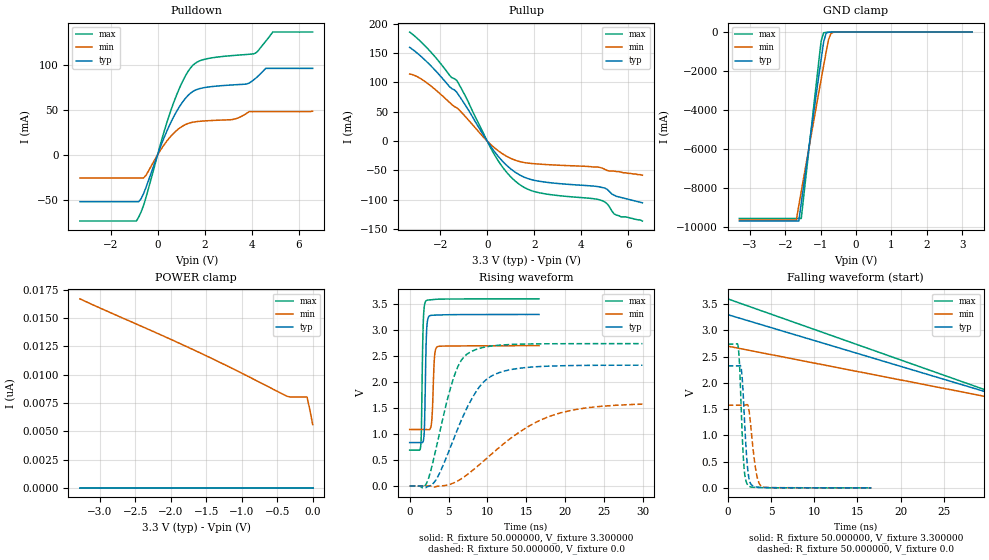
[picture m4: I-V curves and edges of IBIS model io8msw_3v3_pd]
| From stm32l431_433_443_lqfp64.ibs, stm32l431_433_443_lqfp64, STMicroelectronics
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|   Model io8msw_3v3_pd
[Model]  io8msw_3v3_pd
Model_type I/O
Polarity   Non-Inverting
Enable   Active-Low
Vinl =   0.990000V
Vinh =   2.310000V
Vmeas =  1.650000V
Cref =   100.000000nF
Rref =   1.000000k
Vref =   3.300000V
C_comp   2.968600pF   2.938100pF   3.196200pF
[Temperature Range]   25.000000   0.125000k   -40.000000
[Pullup Reference]   3.300000V   2.700000V   3.600000V
[Pulldown Reference]   0.0V   0.0V   0.0V
[POWER Clamp Reference]   3.300000V   2.700000V   3.600000V
[GND Clamp Reference]   0.0V   0.0V   0.0V
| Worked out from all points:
|   slope of the pulldown table from 0 to 0.495 V, typ, clamps not added: 15.4 ohm
|   slope of the pullup table from 0 to 0.495 V, typ, clamps not added: 18.1 ohm
|   GND clamp passes 1 mA (typ) near -0.58 V on its own axis
|   rising waveform, R_fixture 50.000000, V_fixture 3.300000: 20-80 % time 196ps typ, 238ps min, 193ps max; typ from 0.835 V to 3.3 V
|   rising waveform, R_fixture 50.000000, V_fixture 0.0: 20-80 % time 4.25ns typ, 8.5ns min, 2.78ns max; typ from 0 V to 2.32 V
|   falling waveform, R_fixture 50.000000, V_fixture 3.300000: 20-80 % time 30ns typ, 30.1ns min, 30ns max; typ from 3.3 V to 0.835 V
|   falling waveform, R_fixture 50.000000, V_fixture 0.0: 20-80 % time 485ps typ, 657ps min, 409ps max; typ from 2.32 V to 0 V
[Pulldown]
|Voltage   I(typ)   I(min)   I(max)
-3.3V     -51.63mA   -25.53mA   -73.04mA
-900mV    -51.63mA   -25.53mA   -73.04mA
-500mV    -36.51mA   -22.79mA   -47.71mA
200mV     14.02mA    8.316mA    18.9mA
700mV     42.99mA    24.4mA     58.9mA
1.2V      63.06mA    33.8mA     88.14mA
1.6V      71.63mA    36.67mA    101.4mA
3.2V      77.51mA    39.29mA    110mA
4.1V      83.27mA    47.97mA    111.9mA
4.6V      95.8mA     47.97mA    125.7mA
4.9V      95.8mA     47.97mA    136mA
6.6V      95.8mA     48.43mA    136mA
[Pullup]
|Voltage   I(typ)   I(min)   I(max)
-3.3V     159.6mA    114.2mA    185.6mA
-2.6V     136.1mA    100mA      160.2mA
-1.6V     92.48mA    65.73mA    111.9mA
-1.3V     83.31mA    56.77mA    103.4mA
300mV     -17.49mA   -11.19mA   -22.71mA
800mV     -40.27mA   -25.28mA   -51.87mA
1.3V      -55.74mA   -33.93mA   -71.59mA
2.2V      -68.23mA   -39.11mA   -87.81mA
4.8V      -78.1mA    -45mA      -100.2mA
5.1V      -82mA      -50mA      -106.7mA
5.5V      -94mA      -52mA      -126mA
6.6V      -105mA     -58mA      -136mA
[GND_clamp]
|Voltage   I(typ)   I(min)   I(max)
-3.3V     -9.687A    -9.633A    -9.557A
-1.69V    -9.687A    -9.633A    -9.557A
-1.62V    -9.687A    -8.894A    -9.557A
-1.55V    -8.764A    -8.167A    -9.557A
-1.13V    -3.236A    -3.867A    -2.713A
-990mV    -1.417A    -2.448A    -480.2mA
-920mV    -530mA     -1.746A    -39.97mA
-850mV    -62.37mA   -1.055A    -14.05mA
-780mV    -12.06mA   -390.4mA   -9.024mA
-710mV    -4.91mA    -69.1mA    -5.331mA
-640mV    -2.318mA   -14.6mA    -2.508mA
3.28V     87.11uA    88.99uA    71.58uA
[POWER_clamp]
|Voltage   I(typ)   I(min)   I(max)
-3.28V    0A         16.68nA    0A
-1.64V    0A         12.07nA    0A
-1.08V    0A         10.37nA    0A
-360mV    0A         8.078nA    0A
-320mV    0A         8.02nA     0A
-80mV     0A         8.02nA     0A
-40mV     0A         6.883nA    0A
0V        0A         5.582nA    0A
[Ramp]
| variable   typ   min   max
dV/dt_r  1.37784/4.15448n   0.74394/6.12842n   1.64070/2.77201n
dV/dt_f  1.45425/3.56647n   0.79578/5.43603n   1.74045/2.48332n
R_load = 50.000000
[Rising Waveform]
R_fixture= 50.000000
V_fixture= 3.300000
V_fixture_min= 2.700000
V_fixture_max= 3.600000
|time   V(typ)   V(min)   V(max)
0s        834.7mV    1.086V     689.8mV
1.435ns   834.1mV    1.086V     788.2mV
1.735ns   856.4mV    1.086V     3.093V
1.902ns   1.143V     1.086V     3.479V
2.069ns   2.426V     1.086V     3.555V
2.269ns   3.157V     1.085V     3.574V
2.803ns   3.282V     1.206V     3.583V
3.17ns    3.286V     2.441V     3.588V
3.504ns   3.287V     2.672V     3.592V
16.62ns   3.299V     2.699V     3.599V
[Rising Waveform]
R_fixture= 50.000000
V_fixture= 0.0
V_fixture_min= 0.0
V_fixture_max= 0.0
|time   V(typ)   V(min)   V(max)
0s        3.854nV    95.34nV    3.47nV
2.222ns   -19.97mV   184.1uV    67.15mV
3.544ns   159.7mV    -6.951mV   818.9mV
5.526ns   854mV      50.68mV    2.024V
6.547ns   1.232V     129mV      2.396V
7.748ns   1.613V     258.3mV    2.574V
9.429ns   1.989V     470.8mV    2.665V
10.99ns   2.15V      673.9mV    2.7V
18.02ns   2.306V     1.342V     2.735V
29.91ns   2.323V     1.574V     2.738V
[Falling Waveform]
R_fixture= 50.000000
V_fixture= 3.300000
V_fixture_min= 2.700000
V_fixture_max= 3.600000
|time   V(typ)   V(min)   V(max)
0s        3.299V     2.699V     3.599V
50.05ns   834.8mV    1.089V     689.8mV
100.1ns   834.7mV    1.086V     689.8mV
4.955us   834.7mV    1.086V     689.8mV
[Falling Waveform]
R_fixture= 50.000000
V_fixture= 0.0
V_fixture_min= 0.0
V_fixture_max= 0.0
|time   V(typ)   V(min)   V(max)
0s        2.323V     1.574V     2.738V
1.168ns   2.323V     1.574V     2.725V
1.368ns   2.329V     1.574V     2.339V
1.535ns   2.296V     1.574V     1.62V
1.902ns   1.413V     1.573V     355.6mV
2.169ns   634.1mV    1.583V     103.6mV
2.402ns   232.3mV    1.531V     40.4mV
3.237ns   16.72mV    349.2mV    9.005mV
3.871ns   7.99mV     32.6mV     4.483mV
16.62ns   3.854nV    95.34nV    3.47nV
